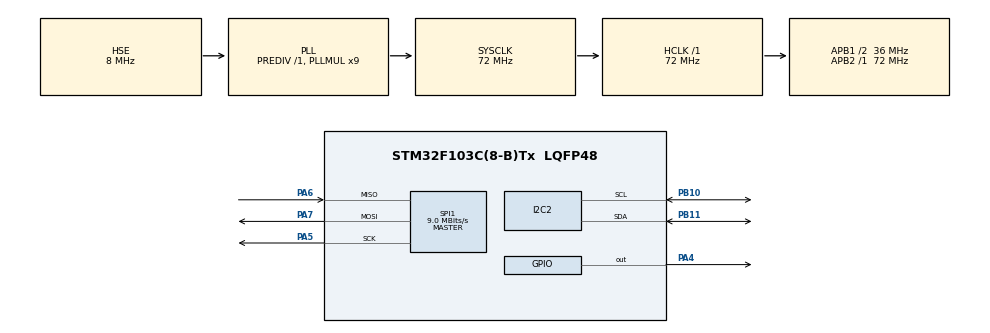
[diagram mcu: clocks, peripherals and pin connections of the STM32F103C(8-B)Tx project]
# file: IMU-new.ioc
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I2C2.I2C_Mode=I2C_Fast
Mcu.Family=STM32F1
Mcu.Name=STM32F103C(8-B)Tx
Mcu.Package=LQFP48
NVIC.PriorityGroup=NVIC_PRIORITYGROUP_4
NVIC.SPI1_IRQn=true\:0\:0\:false\:false\:true\:true\:true\:true
PA4.GPIO_PuPd=GPIO_PULLUP
PA4.Signal=GPIO_Output
PA5.Mode=Full_Duplex_Master
PA5.Signal=SPI1_SCK
PA6.Mode=Full_Duplex_Master
PA6.Signal=SPI1_MISO
PA7.Mode=Full_Duplex_Master
PA7.Signal=SPI1_MOSI
PB10.Mode=I2C
PB10.Signal=I2C2_SCL
PB11.Mode=I2C
PB11.Signal=I2C2_SDA
PD0-OSC_IN.Mode=HSE-External-Oscillator
PD0-OSC_IN.Signal=RCC_OSC_IN
PD1-OSC_OUT.Mode=HSE-External-Oscillator
PD1-OSC_OUT.Signal=RCC_OSC_OUT
ProjectManager.HeapSize=0x200
ProjectManager.StackSize=0x400
ProjectManager.TargetToolchain=STM32CubeIDE
RCC.AHBFreq_Value=72000000
RCC.APB1CLKDivider=RCC_HCLK_DIV2
RCC.APB1Freq_Value=36000000
RCC.APB1TimFreq_Value=72000000
RCC.APB2Freq_Value=72000000
RCC.APB2TimFreq_Value=72000000
RCC.HCLKFreq_Value=72000000
RCC.PLLMUL=RCC_PLL_MUL9
RCC.PLLSourceVirtual=RCC_PLLSOURCE_HSE
RCC.SYSCLKFreq_VALUE=72000000
RCC.SYSCLKSource=RCC_SYSCLKSOURCE_PLLCLK
RCC.USBFreq_Value=72000000
SPI1.BaudRatePrescaler=SPI_BAUDRATEPRESCALER_8
SPI1.CalculateBaudRate=9.0 MBits/s
SPI1.Direction=SPI_DIRECTION_2LINES
SPI1.Mode=SPI_MODE_MASTER
SPI1.VirtualType=VM_MASTER
board=custom

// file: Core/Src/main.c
/* USER CODE BEGIN Header */
/**
 ******************************************************************************
 * @file           : main.c
 * @brief          : Main program body
 ******************************************************************************
 * @attention
 *
 * Copyright (c) 2023 STMicroelectronics.
 * All rights reserved.
 *
 * This software is licensed under terms that can be found in the LICENSE file
 * in the root directory of this software component.
 * If no LICENSE file comes with this software, it is provided AS-IS.
 *
 ******************************************************************************
 */
/* USER CODE END Header */
#include "main.h"

#define SRC_PORT 6001
#define FLAG 0
#define DST_PORT 5001

I2C_HandleTypeDef hi2c2;

SPI_HandleTypeDef hspi1;

void SystemClock_Config(void);
static void MX_GPIO_Init(void);
static void MX_SPI1_Init(void);
static void MX_I2C2_Init(void);

int main(void)
{

  /* MCU Configuration--------------------------------------------------------*/

  /* Reset of all peripherals, Initializes the Flash interface and the Systick. */
  HAL_Init();

  /* Configure the system clock */
  SystemClock_Config();

  /* Initialize all configured peripherals */
  MX_GPIO_Init();
  MX_SPI1_Init();
  MX_I2C2_Init();
  /* USER CODE BEGIN 2 */
  MPU6050_t MPU6050;

  MPU6050_Init(&hi2c2);
  // sprintf(str, "Success");
  // else
  // sprintf(str, "Failed");
  // HAL_UART_Transmit(&huart1, str, sizeof(str), 100);
  // HAL_Delay(1000);
  MPU6050_Bypass(&hi2c2);
  HMC5883L_Setup(&hi2c2);
  MPU6050_Master(&hi2c2);
  MPU6050_Slave_Read(&hi2c2);
  static uint16_t heading;
  static uint8_t str[30];

  uint8_t socNum = 0;

  uint8_t mac[] = {0x00, 0x08, 0xdc, 0xab, 0xcd, 0xef}; // Mac address
  uint8_t ip[] = {192, 168, 1, 15};                     // IP address
  uint8_t sn[] = {255, 255, 255, 0};                    // Subnet mask
  uint8_t gw[] = {192, 168, 1, 1};                      // Gateway address

  initializeW5500(mac, ip, sn, gw); // configures the MAC address, IP address, subnet mask and gateway of the device or node.

  uint8_t dstip[4] = {192, 168, 1, 4}; // destination ip address

  while (socket(socNum, Sn_MR_UDP, SRC_PORT, FLAG) != socNum)
    ;

  /* USER CODE END 2 */

  /* Infinite loop */
  while (1)
  {
    MPU6050_Read_All(&hi2c2);
    HAL_Delay(20);
    heading = MPU6050_Parsing_NoOffest(&MPU6050);
    sprintf(str, "%d", heading);
    Socket_sendUDP(socNum, str, dstip, DST_PORT); // sends message to a destination ip address and port
    HAL_Delay(350);
  }
}

void SystemClock_Config(void)
{
  RCC_OscInitTypeDef RCC_OscInitStruct = {0};
  RCC_ClkInitTypeDef RCC_ClkInitStruct = {0};

  /** Initializes the RCC Oscillators according to the specified parameters
   * in the RCC_OscInitTypeDef structure.
   */
  RCC_OscInitStruct.OscillatorType = RCC_OSCILLATORTYPE_HSE;
  RCC_OscInitStruct.HSEState = RCC_HSE_ON;
  RCC_OscInitStruct.HSEPredivValue = RCC_HSE_PREDIV_DIV1;
  RCC_OscInitStruct.HSIState = RCC_HSI_ON;
  RCC_OscInitStruct.PLL.PLLState = RCC_PLL_ON;
  RCC_OscInitStruct.PLL.PLLSource = RCC_PLLSOURCE_HSE;
  RCC_OscInitStruct.PLL.PLLMUL = RCC_PLL_MUL9;
  if (HAL_RCC_OscConfig(&RCC_OscInitStruct) != HAL_OK)
  {
    Error_Handler();
  }

  /** Initializes the CPU, AHB and APB buses clocks
   */
  RCC_ClkInitStruct.ClockType = RCC_CLOCKTYPE_HCLK | RCC_CLOCKTYPE_SYSCLK | RCC_CLOCKTYPE_PCLK1 | RCC_CLOCKTYPE_PCLK2;
  RCC_ClkInitStruct.SYSCLKSource = RCC_SYSCLKSOURCE_PLLCLK;
  RCC_ClkInitStruct.AHBCLKDivider = RCC_SYSCLK_DIV1;
  RCC_ClkInitStruct.APB1CLKDivider = RCC_HCLK_DIV2;
  RCC_ClkInitStruct.APB2CLKDivider = RCC_HCLK_DIV1;

  if (HAL_RCC_ClockConfig(&RCC_ClkInitStruct, FLASH_LATENCY_2) != HAL_OK)
  {
    Error_Handler();
  }
}

static void MX_I2C2_Init(void)
{

  hi2c2.Instance = I2C2;
  hi2c2.Init.ClockSpeed = 400000;
  hi2c2.Init.DutyCycle = I2C_DUTYCYCLE_2;
  hi2c2.Init.OwnAddress1 = 0;
  hi2c2.Init.AddressingMode = I2C_ADDRESSINGMODE_7BIT;
  hi2c2.Init.DualAddressMode = I2C_DUALADDRESS_DISABLE;
  hi2c2.Init.OwnAddress2 = 0;
  hi2c2.Init.GeneralCallMode = I2C_GENERALCALL_DISABLE;
  hi2c2.Init.NoStretchMode = I2C_NOSTRETCH_DISABLE;
  if (HAL_I2C_Init(&hi2c2) != HAL_OK)
  {
    Error_Handler();
  }
}

static void MX_SPI1_Init(void)
{

  /* SPI1 parameter configuration*/
  hspi1.Instance = SPI1;
  hspi1.Init.Mode = SPI_MODE_MASTER;
  hspi1.Init.Direction = SPI_DIRECTION_2LINES;
  hspi1.Init.DataSize = SPI_DATASIZE_8BIT;
  hspi1.Init.CLKPolarity = SPI_POLARITY_LOW;
  hspi1.Init.CLKPhase = SPI_PHASE_1EDGE;
  hspi1.Init.NSS = SPI_NSS_SOFT;
  hspi1.Init.BaudRatePrescaler = SPI_BAUDRATEPRESCALER_8;
  hspi1.Init.FirstBit = SPI_FIRSTBIT_MSB;
  hspi1.Init.TIMode = SPI_TIMODE_DISABLE;
  hspi1.Init.CRCCalculation = SPI_CRCCALCULATION_DISABLE;
  hspi1.Init.CRCPolynomial = 10;
  if (HAL_SPI_Init(&hspi1) != HAL_OK)
  {
    Error_Handler();
  }
}

static void MX_GPIO_Init(void)
{
  GPIO_InitTypeDef GPIO_InitStruct = {0};

  /* GPIO Ports Clock Enable */
  __HAL_RCC_GPIOD_CLK_ENABLE();
  __HAL_RCC_GPIOA_CLK_ENABLE();
  __HAL_RCC_GPIOB_CLK_ENABLE();

  /*Configure GPIO pin Output Level */
  HAL_GPIO_WritePin(GPIOA, GPIO_PIN_4, GPIO_PIN_RESET);

  /*Configure GPIO pin : PA4 */
  GPIO_InitStruct.Pin = GPIO_PIN_4;
  GPIO_InitStruct.Mode = GPIO_MODE_OUTPUT_PP;
  GPIO_InitStruct.Pull = GPIO_PULLUP;
  GPIO_InitStruct.Speed = GPIO_SPEED_FREQ_LOW;
  HAL_GPIO_Init(GPIOA, &GPIO_InitStruct);
}

void Error_Handler(void)
{
  __disable_irq();
  while (1)
  {
  }
}
